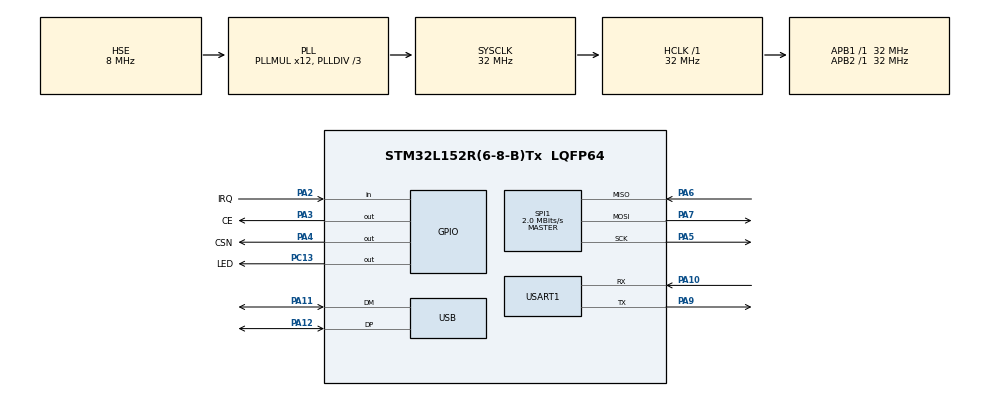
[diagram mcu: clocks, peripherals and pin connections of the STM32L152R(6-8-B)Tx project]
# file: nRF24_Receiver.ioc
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Mcu.Family=STM32L1
Mcu.Name=STM32L152R(6-8-B)Tx
Mcu.Package=LQFP64
NVIC.PriorityGroup=NVIC_PRIORITYGROUP_4
NVIC.USB_LP_IRQn=true\:0\:0\:false\:false\:true\:false
PA10.Mode=Asynchronous
PA10.Signal=USART1_RX
PA11.Mode=Device
PA11.Signal=USB_DM
PA12.Mode=Device
PA12.Signal=USB_DP
PA13.Mode=Serial_Wire
PA13.Signal=SYS_JTMS-SWDIO
PA14.Mode=Serial_Wire
PA14.Signal=SYS_JTCK-SWCLK
PA2.GPIO_Label=IRQ
PA2.Signal=GPIO_Input
PA3.GPIO_Label=CE
PA3.GPIO_Speed=GPIO_SPEED_FREQ_VERY_HIGH
PA3.PinState=GPIO_PIN_RESET
PA3.Signal=GPIO_Output
PA4.GPIO_Label=CSN
PA4.GPIO_Speed=GPIO_SPEED_FREQ_VERY_HIGH
PA4.Signal=GPIO_Output
PA5.Mode=Full_Duplex_Master
PA5.Signal=SPI1_SCK
PA6.Mode=Full_Duplex_Master
PA6.Signal=SPI1_MISO
PA7.Mode=Full_Duplex_Master
PA7.Signal=SPI1_MOSI
PA9.Mode=Asynchronous
PA9.Signal=USART1_TX
PC13-WKUP2.GPIO_Label=LED
PC13-WKUP2.GPIO_Speed=GPIO_SPEED_FREQ_VERY_HIGH
PC13-WKUP2.Signal=GPIO_Output
PH0-OSC_IN.Mode=HSE-External-Oscillator
PH0-OSC_IN.Signal=RCC_OSC_IN
PH1-OSC_OUT.Mode=HSE-External-Oscillator
PH1-OSC_OUT.Signal=RCC_OSC_OUT
ProjectManager.HeapSize=0x200
ProjectManager.StackSize=0x400
ProjectManager.TargetToolchain=TrueSTUDIO
RCC.48MHZClocksFreq_Value=48000000
RCC.AHBFreq_Value=32000000
RCC.APB1Freq_Value=32000000
RCC.APB1TimFreq_Value=32000000
RCC.APB2Freq_Value=32000000
RCC.APB2TimFreq_Value=32000000
RCC.HCLKFreq_Value=32000000
RCC.HSE_VALUE=8000000
RCC.HSI_VALUE=16000000
RCC.LSE_VALUE=32768
RCC.MSI_VALUE=2097000
RCC.PLLDIV=RCC_PLL_DIV3
RCC.PLLMUL=RCC_PLL_MUL12
RCC.SYSCLKFreq_VALUE=32000000
RCC.SYSCLKSource=RCC_SYSCLKSOURCE_PLLCLK
RCC.VCOOutputFreq_Value=96000000
SPI1.BaudRatePrescaler=SPI_BAUDRATEPRESCALER_16
SPI1.CalculateBaudRate=2.0 MBits/s
SPI1.Direction=SPI_DIRECTION_2LINES
SPI1.Mode=SPI_MODE_MASTER
SPI1.VirtualType=VM_MASTER
USART1.VirtualMode=VM_ASYNC
USB_DEVICE.CLASS_NAME_FS=CUSTOMHID
USB_DEVICE.PID_CUSTOMHID_FS=22353 
USB_DEVICE.USBD_CUSTOMHID_OUTREPORT_BUF_SIZE=32
USB_DEVICE.USBD_CUSTOM_HID_REPORT_DESC_SIZE=38
USB_DEVICE.USBD_SELF_POWERED=0
USB_DEVICE.VirtualMode=CustomHid
USB_DEVICE.VirtualModeFS=Custom_Hid_FS
VP_USB_DEVICE_VS_USB_DEVICE_CUSTOM_HID_FS.Mode=CUSTOM_HID_FS
board=custom

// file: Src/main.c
/**
  ******************************************************************************
  * @file           : main.c
  * @brief          : Main program body
  ******************************************************************************
  * This notice applies to any and all portions of this file
  * that are not between comment pairs USER CODE BEGIN and
  * USER CODE END. Other portions of this file, whether
  * inserted by the user or by software development tools
  * are owned by their respective copyright owners.
  *
  * Copyright (c) 2018 STMicroelectronics International N.V.
  * All rights reserved.
  *
  * Redistribution and use in source and binary forms, with or without
  * modification, are permitted, provided that the following conditions are met:
  *
  * 1. Redistribution of source code must retain the above copyright notice,
  *    this list of conditions and the following disclaimer.
  * 2. Redistributions in binary form must reproduce the above copyright notice,
  *    this list of conditions and the following disclaimer in the documentation
  *    and/or other materials provided with the distribution.
  * 3. Neither the name of STMicroelectronics nor the names of other
  *    contributors to this software may be used to endorse or promote products
  *    derived from this software without specific written permission.
  * 4. This software, including modifications and/or derivative works of this
  *    software, must execute solely and exclusively on microcontroller or
  *    microprocessor devices manufactured by or for STMicroelectronics.
  * 5. Redistribution and use of this software other than as permitted under
  *    this license is void and will automatically terminate your rights under
  *    this license.
  *
  * THIS SOFTWARE IS PROVIDED BY STMICROELECTRONICS AND CONTRIBUTORS "AS IS"
  * AND ANY EXPRESS, IMPLIED OR STATUTORY WARRANTIES, INCLUDING, BUT NOT
  * LIMITED TO, THE IMPLIED WARRANTIES OF MERCHANTABILITY, FITNESS FOR A
  * PARTICULAR PURPOSE AND NON-INFRINGEMENT OF THIRD PARTY INTELLECTUAL PROPERTY
  * RIGHTS ARE DISCLAIMED TO THE FULLEST EXTENT PERMITTED BY LAW. IN NO EVENT
  * SHALL STMICROELECTRONICS OR CONTRIBUTORS BE LIABLE FOR ANY DIRECT, INDIRECT,
  * INCIDENTAL, SPECIAL, EXEMPLARY, OR CONSEQUENTIAL DAMAGES (INCLUDING, BUT NOT
  * LIMITED TO, PROCUREMENT OF SUBSTITUTE GOODS OR SERVICES; LOSS OF USE, DATA,
  * OR PROFITS; OR BUSINESS INTERRUPTION) HOWEVER CAUSED AND ON ANY THEORY OF
  * LIABILITY, WHETHER IN CONTRACT, STRICT LIABILITY, OR TORT (INCLUDING
  * NEGLIGENCE OR OTHERWISE) ARISING IN ANY WAY OUT OF THE USE OF THIS SOFTWARE,
  * EVEN IF ADVISED OF THE POSSIBILITY OF SUCH DAMAGE.
  *
  ******************************************************************************
  */
#include "main.h"
#include "stm32l1xx_hal.h"
#include "spi.h"
#include "usart.h"
#include "usb_device.h"
#include "gpio.h"

/* USER CODE BEGIN Includes */
#include "usbd_customhid.h"
#include "NRF24.h"
#include <string.h>
#include "DWT_us.h"
/* USER CODE END Includes */

/* USER CODE BEGIN PV */
/* Private variables ---------------------------------------------------------*/
char str1[150]={0};
uint8_t buf1[20]={0};
extern USBD_HandleTypeDef hUsbDeviceFS;
int Packets = 0;
extern uint16_t Data[2];
/* USER CODE END PV */

void SystemClock_Config(void);

/* USER CODE BEGIN PFP */
/* Private function prototypes -----------------------------------------------*/

/* USER CODE END PFP */

int main(void)
{

  /* MCU Configuration----------------------------------------------------------*/

  /* Reset of all peripherals, Initializes the Flash interface and the Systick. */
  HAL_Init();

  /* Configure the system clock */
  SystemClock_Config();

  /* USER CODE BEGIN SysInit */
  DWT_Delay_Init();
  /* USER CODE END SysInit */

  /* Initialize all configured peripherals */
  MX_GPIO_Init();
  MX_USART1_UART_Init();
  MX_SPI1_Init();
  MX_USB_DEVICE_Init();
  /* USER CODE BEGIN 2 */
  //__HAL_UART_ENABLE_IT(&huart1, UART_IT_RXNE);
  NRF24_ini();
  /* USER CODE END 2 */

  /* Infinite loop */
  while (1)
  {

  /* USER CODE BEGIN 3 */
	  Packets = 0;
	  uint32_t clk_cycle_start = DWT->CYCCNT;
	  while (Packets<1000)
	  {
		  NRF24L01_Receive();
	  }
	  int time = (int)((DWT->CYCCNT-clk_cycle_start)/32);

	  sprintf(str1,"TIME: %d, DATA: %d %d\r\n", time, (int)Data[0], (int)Data[1]);
	  USBD_CUSTOM_HID_SendReport(&hUsbDeviceFS,(uint8_t *)str1, strlen(str1));

  }
  /* USER CODE END 3 */

}

void SystemClock_Config(void)
{

  RCC_OscInitTypeDef RCC_OscInitStruct;
  RCC_ClkInitTypeDef RCC_ClkInitStruct;

    /**Configure the main internal regulator output voltage
    */
  __HAL_PWR_VOLTAGESCALING_CONFIG(PWR_REGULATOR_VOLTAGE_SCALE1);

    /**Initializes the CPU, AHB and APB busses clocks
    */
  RCC_OscInitStruct.OscillatorType = RCC_OSCILLATORTYPE_HSE;
  RCC_OscInitStruct.HSEState = RCC_HSE_ON;
  RCC_OscInitStruct.PLL.PLLState = RCC_PLL_ON;
  RCC_OscInitStruct.PLL.PLLSource = RCC_PLLSOURCE_HSE;
  RCC_OscInitStruct.PLL.PLLMUL = RCC_PLL_MUL12;
  RCC_OscInitStruct.PLL.PLLDIV = RCC_PLL_DIV3;
  if (HAL_RCC_OscConfig(&RCC_OscInitStruct) != HAL_OK)
  {
    _Error_Handler(__FILE__, __LINE__);
  }

    /**Initializes the CPU, AHB and APB busses clocks
    */
  RCC_ClkInitStruct.ClockType = RCC_CLOCKTYPE_HCLK|RCC_CLOCKTYPE_SYSCLK
                              |RCC_CLOCKTYPE_PCLK1|RCC_CLOCKTYPE_PCLK2;
  RCC_ClkInitStruct.SYSCLKSource = RCC_SYSCLKSOURCE_PLLCLK;
  RCC_ClkInitStruct.AHBCLKDivider = RCC_SYSCLK_DIV1;
  RCC_ClkInitStruct.APB1CLKDivider = RCC_HCLK_DIV1;
  RCC_ClkInitStruct.APB2CLKDivider = RCC_HCLK_DIV1;

  if (HAL_RCC_ClockConfig(&RCC_ClkInitStruct, FLASH_LATENCY_1) != HAL_OK)
  {
    _Error_Handler(__FILE__, __LINE__);
  }

    /**Configure the Systick interrupt time
    */
  HAL_SYSTICK_Config(HAL_RCC_GetHCLKFreq()/1000);

    /**Configure the Systick
    */
  HAL_SYSTICK_CLKSourceConfig(SYSTICK_CLKSOURCE_HCLK);

  /* SysTick_IRQn interrupt configuration */
  HAL_NVIC_SetPriority(SysTick_IRQn, 0, 0);
}

void _Error_Handler(char *file, int line)
{
  while(1)
  {
  }
}

/************************ (C) COPYRIGHT STMicroelectronics *****END OF FILE****/
